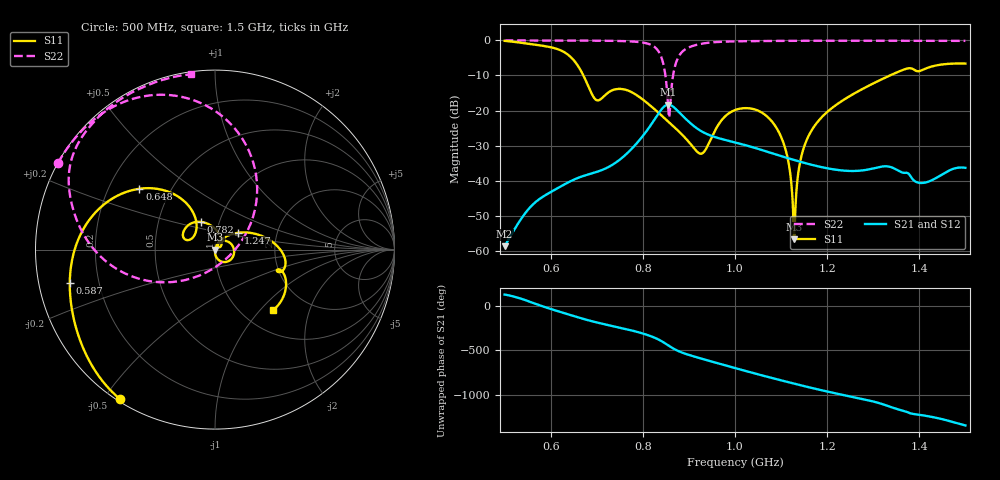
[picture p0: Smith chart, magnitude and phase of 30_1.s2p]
! TOUCHSTONE file generated by CST MICROWAVE STUDIO
! Date and time: Mon Oct 26 12:08:57 2020
! Project name: Scenario_1_Circular_Tissue_out_of_Line_v2.cst
! Parameters = {dy1=155.7; L_HA=400; MT=2.54; Rad_Dielectric=30; Rad_Lower=7.3; Rad_Upper=30; a_HA=580; a_WG=246; b_HA=500; b_WG=121; c_HA=0; c_WG=187; d_feed=85; dx1=173; h_feed=15; h_lower=18; h_upper=40}
! Header version: 2018
! Port assignment regex: !\s*Touchstone port\s*([0-9]+)\s*=\s*(CST MWS port|CST DS port)\s*([0-9]+|Zmin|Zmax)\s*\(\"(.*)\"\)(\s*mode\s*([0-9]+))?.*
! Touchstone port assignment:
! Touchstone port 1 = CST MWS port 1 ("")
! Touchstone port 2 = CST MWS port 2 ("")
# GHz S DB R 50
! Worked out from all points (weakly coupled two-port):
!   1003 points, 500 MHz to 1.5 GHz, reference 50 ohm
!   highest |S21| = -18.32 dB at 855 MHz (marker M1); lowest = -58.7 dB at 500 MHz (marker M2)
!   lowest |S11| = -56.8 dB at 1.128 GHz (marker M3), VSWR 1.00, Z = 50.1 - j0.0843 ohm
!   |S11| at or under -10 dB: 671 MHz to 1.336 GHz (665.2 MHz wide, 66.3 % of centre)
!   |S22| runs from -22.0 to 0.0 dB; largest |S21 - S12| = 0.00014
!   S11 on the Smith chart (normalised r, x): 500 MHz: 0.01, -0.55; 587 MHz: 0.09, -0.11; 648 MHz: 0.33, +0.32; 782 MHz: 0.82, +0.26; 1.247 GHz: 1.27, +0.24; 1.5 GHz: 1.36, -1.18
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0.5  -0.12 -122.6  -58.71 124.3  -58.71 124.3  -0.01 151.1
0.587  -1.62 -167.1  -44.28 -15.7  -44.28 -15.7  -0.02 145.1
0.648  -5.34 141.1  -39.87 -113.5  -39.87 -113.5  -0.03 140.1
0.667  -8.99 124.5  -38.85 -142.8  -38.85 -142.8  -0.04 138.4
0.7  -17.07 143.4  -37.51 171.3  -37.51 171.3  -0.07 134.9
0.782  -15.24 116.9  -30.06 73.5  -30.06 73.5  -0.35 119.8
0.834  -20.63 76.9  -20.85 -19.9  -20.85 -19.9  -3.12 82.2
0.845  -21.95 68.4  -19.02 -51.9  -19.02 -51.9  -7.03 58.4
0.855  -23.14 60.6  -18.32 -85.4  -18.32 -85.4  -19.07 -0.5
0.868  -24.70 50.2  -19.14 -126.3  -19.14 -126.3  -8.34 -152.1
0.893  -27.97 32.0  -22.38 178.8  -22.38 178.9  -2.46 171.7
0.929  -32.23 44.6  -26.06 122.7  -26.04 122.7  -0.91 154.9
1  -19.86 9.2  -29.10 20.1  -29.10 20.1  -0.26 140.2
1.091  -25.18 -73.9  -32.64 -105.9  -32.64 -105.9  -0.14 130.6
1.114  -33.42 -88.0  -33.57 -136.2  -33.57 -136.2  -0.12 128.5
1.128  -56.78 -35.5  -34.11 -154.4  -34.12 -154.4  -0.11 127.4
1.143  -33.65 68.7  -34.67 -173.7  -34.68 -173.7  -0.10 126.1
1.167  -25.51 60.5  -35.51 156.2  -35.51 156.2  -0.10 124.2
1.247  -16.04 36.3  -37.24 65.0  -37.23 64.9  -0.08 118.0
1.334  -10.13 9.6  -36.00 -49.2  -35.97 -49.0  -0.09 111.5
1.404  -8.59 -17.2  -40.69 -147.4  -40.70 -147.4  -0.09 106.0
1.5  -6.60 -46.4  -36.35 96.2  -36.36 96.3  -0.13 97.8
